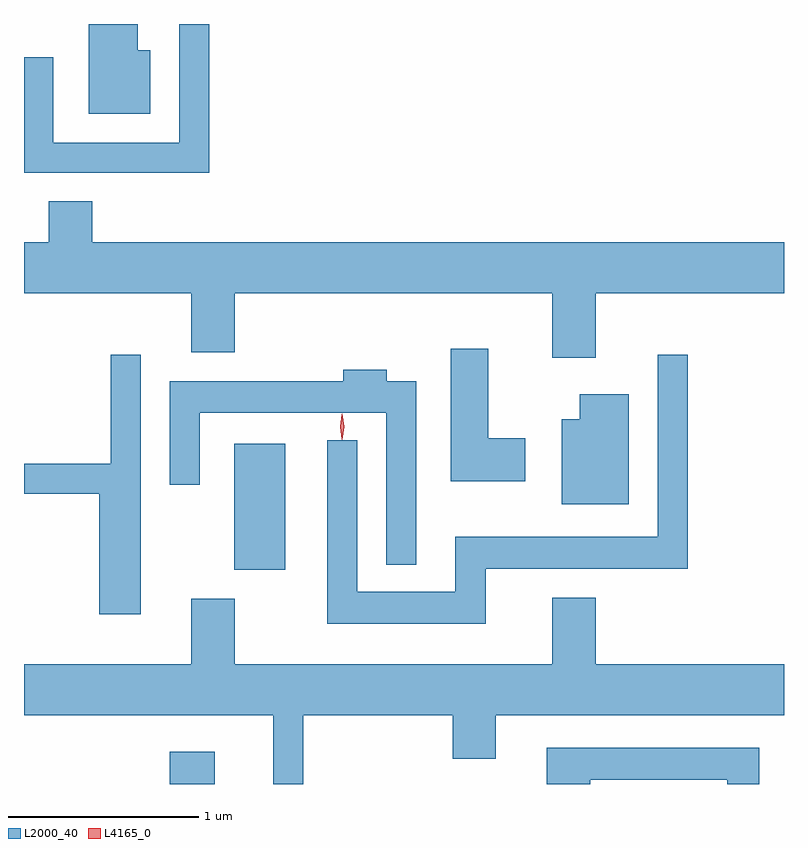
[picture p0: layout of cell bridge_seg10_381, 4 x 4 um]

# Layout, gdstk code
import gdstk
lib = gdstk.Library(unit=1e-6, precision=1e-09)
def R(c, l, rs):  # rectangles x0, y0, x1, y1
    for r in rs: c.add(gdstk.rectangle(r[:2], r[2:], *l))
def P(c, l, *ps):  # polygons
    for p in ps: c.add(gdstk.Polygon(p, *l))
L2000_40 = (2000, 40)
L4165_0 = (4165, 0)

bridge_seg10_381 = lib.new_cell('bridge_seg10_381')
R(bridge_seg10_381, L2000_40, [(1395.966,2140.193,1396.204,2140.364), (1396.306,2141.321,1396.574,2141.984)])
P(bridge_seg10_381, L2000_40, [(1395.864,2144.054),(1395.799,2144.054),(1395.799,2144.193),(1395.541,2144.193),(1395.541,2143.721),(1395.864,2143.721)],
  [(1396.174,2144.193),(1396.016,2144.193),(1396.016,2143.569),(1395.354,2143.569),(1395.354,2144.018),(1395.2,2144.018),(1395.2,2143.411),(1396.174,2143.411)],
  [(1398.209,2142.776),(1399.2,2142.776),(1399.2,2143.044),(1395.559,2143.044),(1395.559,2143.259),(1395.331,2143.259),(1395.331,2143.044),(1395.2,2143.044),(1395.2,2142.776),(1396.081,2142.776),(1396.081,2142.466),(1396.309,2142.466),(1396.309,2142.776),(1397.981,2142.776),(1397.981,2142.436),(1398.209,2142.436)],
  [(1397.839,2142.014),(1397.644,2142.014),(1397.644,2142.484),(1397.446,2142.484),(1397.446,2141.786),(1397.839,2141.786)],
  [(1397.629,2141.326),(1398.694,2141.326),(1398.694,2142.453),(1398.536,2142.453),(1398.536,2141.494),(1397.471,2141.494),(1397.471,2141.204),(1396.954,2141.204),(1396.954,2142.003),(1396.796,2142.003),(1396.796,2141.036),(1397.629,2141.036)],
  [(1395.814,2142.453),(1395.656,2142.453),(1395.656,2141.879),(1395.2,2141.879),(1395.2,2141.721),(1395.596,2141.721),(1395.596,2141.086),(1395.814,2141.086)],
  [(1397.264,2142.314),(1397.109,2142.314),(1397.109,2142.374),(1396.881,2142.374),(1396.881,2142.314),(1395.966,2142.314),(1395.966,2141.768),(1396.124,2141.768),(1396.124,2142.146),(1397.106,2142.146),(1397.106,2141.348),(1397.264,2141.348)],
  [(1398.384,2142.244),(1398.126,2142.244),(1398.126,2142.114),(1398.031,2142.114),(1398.031,2141.666),(1398.384,2141.666)],
  [(1396.669,2140.556),(1397.456,2140.556),(1397.456,2140.326),(1397.684,2140.326),(1397.684,2140.556),(1399.2,2140.556),(1399.2,2140.824),(1398.209,2140.824),(1398.209,2141.174),(1397.981,2141.174),(1397.981,2140.824),(1396.309,2140.824),(1396.309,2141.169),(1396.081,2141.169),(1396.081,2140.824),(1395.2,2140.824),(1395.2,2140.556),(1396.511,2140.556),(1396.511,2140.193),(1396.669,2140.193)],
  [(1398.179,2140.216),(1398.901,2140.216),(1398.901,2140.193),(1399.069,2140.193),(1399.069,2140.384),(1397.951,2140.384),(1397.951,2140.193),(1398.179,2140.193)])
P(bridge_seg10_381, L4165_0, [(1396.874,2142.007),(1396.873,2142.008),(1396.864,2142.074),(1396.873,2142.14),(1396.874,2142.14),(1396.874,2142.14),(1396.884,2142.074),(1396.874,2142.008)],
  [(1396.874,2142.004),(1396.865,2142.073),(1396.874,2142.142),(1396.875,2142.143),(1396.876,2142.142),(1396.885,2142.073),(1396.876,2142.004),(1396.875,2142.004)])

lib.write_gds('bridge_seg10_381.gds')
